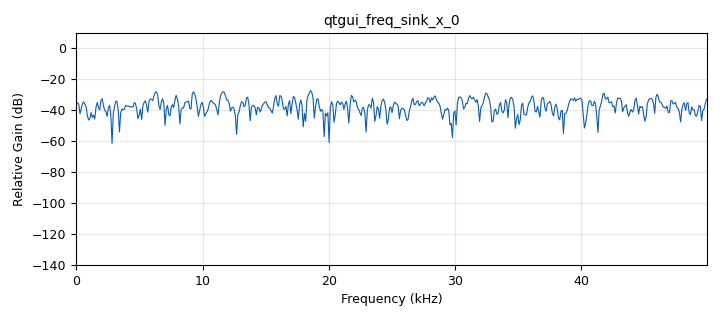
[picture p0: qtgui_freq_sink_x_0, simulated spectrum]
options:
  parameters:
    generate_options: qt_gui
    id: Labo_3
    output_language: python
    title: Oefening 1
  states: {}

blocks:
- name: a1
  id: variable_qtgui_range
  parameters:
    start: '-5'
    step: '0.001'
    stop: '5'
    value: '1'
  states: {}
- name: a2
  id: variable_qtgui_range
  parameters:
    start: '-5'
    step: '0.001'
    stop: '5'
    value: '1'
  states: {}
- name: a3
  id: variable_qtgui_range
  parameters:
    start: '-5'
    step: '0.001'
    stop: '5'
    value: '1'
  states: {}
- name: a4
  id: variable_qtgui_range
  parameters:
    start: '-5'
    step: '0.001'
    stop: '5'
    value: '1'
  states: {state: disabled}
- name: samp_rate
  id: variable
  parameters:
    value: 100e3
  states: {}
- name: analog_noise_source_x_0
  id: analog_noise_source_x
  parameters:
    amp: '1'
    noise_type: analog.GR_GAUSSIAN
    seed: '0'
    type: float
  states: {}
- name: blocks_throttle_0
  id: blocks_throttle
  parameters:
    samples_per_second: samp_rate
    type: float
  states: {}
- name: fir_filter_xxx_0
  id: fir_filter_xxx
  parameters:
    decim: '1'
    taps: a1 - a2 -a3
    type: fff
  states: {}
- name: note_0
  id: note
  parameters: {}
  states: {}
- name: qtgui_freq_sink_x_0
  id: qtgui_freq_sink_x
  parameters:
    bw: samp_rate
    fc: '0'
    fftsize: '1024'
    freqhalf: 'False'
    type: float
  states: {}

connections:
- [analog_noise_source_x_0, '0', fir_filter_xxx_0, '0']
- [blocks_throttle_0, '0', qtgui_freq_sink_x_0, '0']
- [fir_filter_xxx_0, '0', blocks_throttle_0, '0']

metadata:
  file_format: 1
